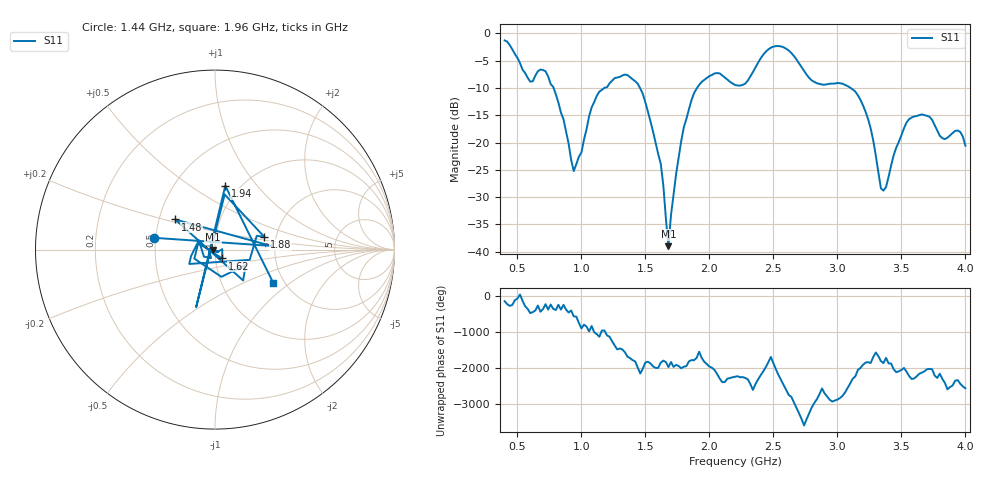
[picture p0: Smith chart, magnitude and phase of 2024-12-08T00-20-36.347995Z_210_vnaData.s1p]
!Created with skrf (http://scikit-rf.org).
# Hz S RI R 50.0
!freq ReS11 ImS11
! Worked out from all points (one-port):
!   181 points, 400 MHz to 4 GHz, reference 50 ohm
!   lowest |S11| = -39.0 dB at 1.68 GHz (marker M1), VSWR 1.02, Z = 48.9 - j0.0588 ohm
!   |S11| at or under -10 dB: 782.9 MHz to 1.178 GHz (395.6 MHz wide, 40.3 % of centre); 1.458 GHz to 1.903 GHz (445.4 MHz wide, 26.5 % of centre); 3.103 GHz to end of sweep
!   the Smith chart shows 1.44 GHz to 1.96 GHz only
!   S11 on the Smith chart (normalised r, x): 1.44 GHz: 0.49, +0.07; 1.48 GHz: 0.61, +0.22; 1.62 GHz: 1.08, -0.11; 1.88 GHz: 1.73, +0.27; 1.94 GHz: 0.86, +0.70; 1.96 GHz: 1.75, -0.76
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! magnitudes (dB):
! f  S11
! 400 MHz  -1.3
! 600 MHz  -8.8
! 720 MHz  -6.9
! 860 MHz  -15.7
! 940 MHz  -25.2
! 1.12 GHz  -11.5
! 1.3 GHz  -8.0
! 1.44 GHz  -9.2
! 1.48 GHz  -11.1
! 1.62 GHz  -23.9
! 1.68 GHz  -39.0
! 1.76 GHz  -22.7
! 1.88 GHz  -11.0
! 1.94 GHz  -8.9
! 1.96 GHz  -8.5
! 2.2 GHz  -9.4
! 2.48 GHz  -2.6
! 2.66 GHz  -4.1
! 2.82 GHz  -8.9
! 3.1 GHz  -9.9
! 3.24 GHz  -15.7
! 3.34 GHz  -28.4
! 3.36 GHz  -28.8
! 3.56 GHz  -15.7
! 3.72 GHz  -15.3
! 3.82 GHz  -19.2
! 3.94 GHz  -17.8
! 4 GHz  -20.6
